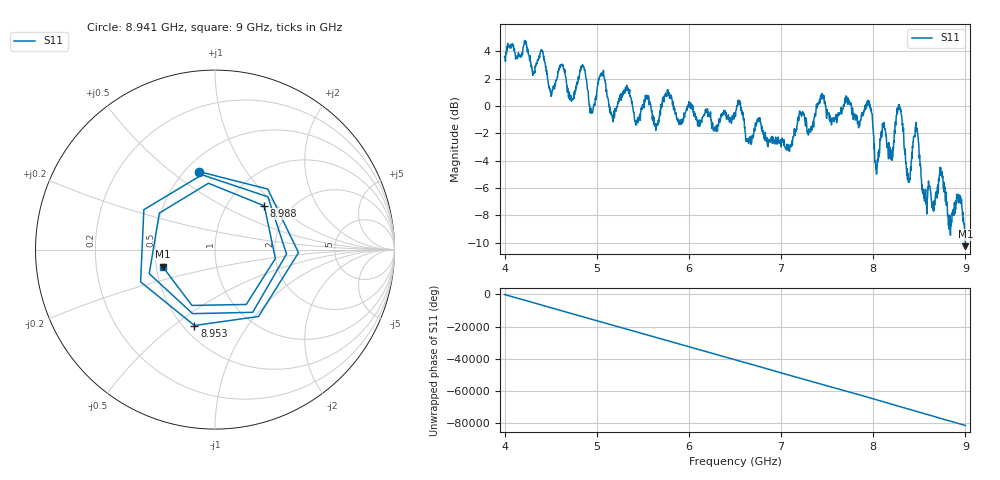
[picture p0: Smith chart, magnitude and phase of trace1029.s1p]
! Created with skrf 1.8.0 (http://scikit-rf.org).
# Hz S RI R 50.0
!freq ReS11 ImS11
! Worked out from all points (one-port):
!   1601 points, 4 GHz to 9 GHz, reference 50 ohm
!   lowest |S11| = -10.3 dB at 9 GHz (marker M1), VSWR 1.88, Z = 27 - j5.67 ohm
!   |S11| at or under -10 dB: 8.999012 GHz to end of sweep
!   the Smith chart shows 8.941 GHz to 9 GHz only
!   S11 on the Smith chart (normalised r, x): 8.941 GHz: 0.59, +0.63; 8.953 GHz: 0.57, -0.60; 8.988 GHz: 1.48, +0.83; 9 GHz: 0.54, -0.11
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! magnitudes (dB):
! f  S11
! 4 GHz  3.6
! 4.406 GHz  4.1
! 4.506 GHz  1.0
! 4.625 GHz  3.0
! 4.728 GHz  0.4
! 4.853 GHz  2.8
! 4.941 GHz  -0.4
! 5.053 GHz  2.4
! 5.166 GHz  -0.7
! 5.25 GHz  0.7
! 5.875 GHz  -0.9
! 6.5 GHz  -0.5
! 7.125 GHz  -2.7
! 7.441 GHz  0.9
! 7.75 GHz  0.1
! 7.956 GHz  0.4
! 8.041 GHz  -4.6
! 8.109 GHz  -1.4
! 8.2 GHz  -3.7
! 8.284 GHz  0.0
! 8.375 GHz  -4.9
! 8.462 GHz  -1.5
! 8.559 GHz  -6.9
! 8.734 GHz  -5.0
! 8.941 GHz  -7.1
! 8.953 GHz  -7.2
! 8.988 GHz  -8.7
! 9 GHz  -10.3
